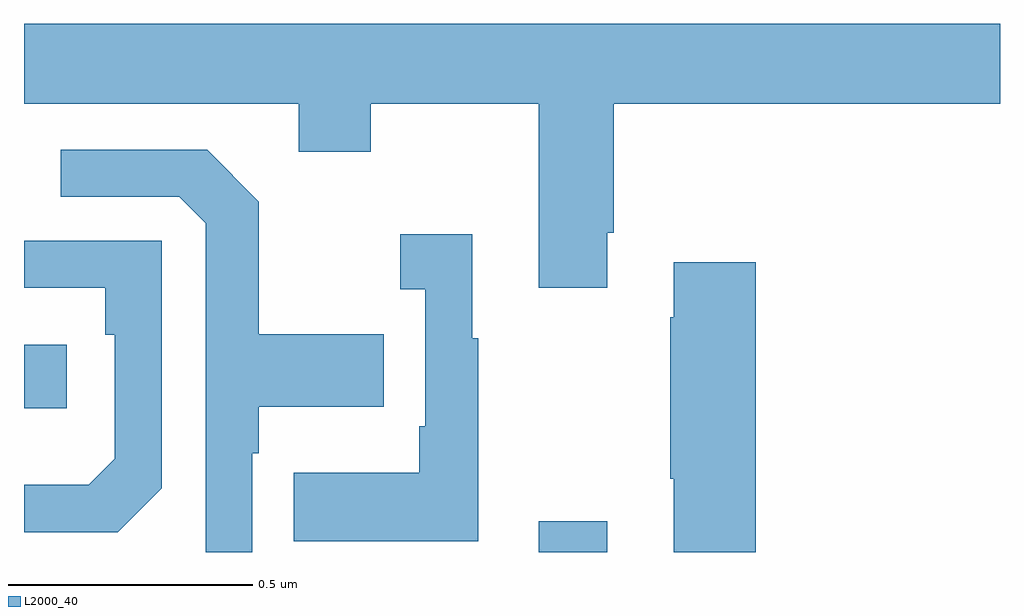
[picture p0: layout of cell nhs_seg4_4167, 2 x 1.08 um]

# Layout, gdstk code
import gdstk
lib = gdstk.Library(unit=1e-6, precision=1e-09)
def R(c, l, rs):  # rectangles x0, y0, x1, y1
    for r in rs: c.add(gdstk.rectangle(r[:2], r[2:], *l))
def P(c, l, *ps):  # polygons
    for p in ps: c.add(gdstk.Polygon(p, *l))
L2000_40 = (2000, 40)

nhs_seg4_4167 = lib.new_cell('nhs_seg4_4167')
R(nhs_seg4_4167, L2000_40, [(163.055,795.9,163.195,795.964), (162,796.196,162.088,796.326)])
P(nhs_seg4_4167, L2000_40, [(163.195,796.555),(163.208,796.555),(163.208,796.82),(164,796.82),(164,796.984),(162,796.984),(162,796.82),(162.563,796.82),(162.563,796.721),(162.711,796.721),(162.711,796.82),(163.055,796.82),(163.055,796.443),(163.195,796.443)],
  [(162.468,796.103),(162.481,796.103),(162.481,796.199),(162.737,796.199),(162.737,796.347),(162.481,796.347),(162.481,796.619),(162.375,796.725),(162.075,796.725),(162.075,796.629),(162.318,796.629),(162.372,796.575),(162.372,795.9),(162.468,795.9)],
  [(162.931,796.339),(162.919,796.339),(162.919,796.552),(162.771,796.552),(162.771,796.439),(162.822,796.439),(162.822,796.159),(162.81,796.159),(162.81,796.063),(162.553,796.063),(162.553,795.923),(162.931,795.923)],
  [(162.282,796.032),(162.282,796.539),(162,796.539),(162,796.443),(162.166,796.443),(162.166,796.346),(162.186,796.346),(162.186,796.092),(162.133,796.039),(162,796.039),(162,795.942),(162.192,795.942)],
  [(163.499,796.495),(163.331,796.495),(163.331,796.382),(163.324,796.382),(163.324,796.051),(163.331,796.051),(163.331,795.9),(163.499,795.9)])

lib.write_gds('nhs_seg4_4167.gds')
